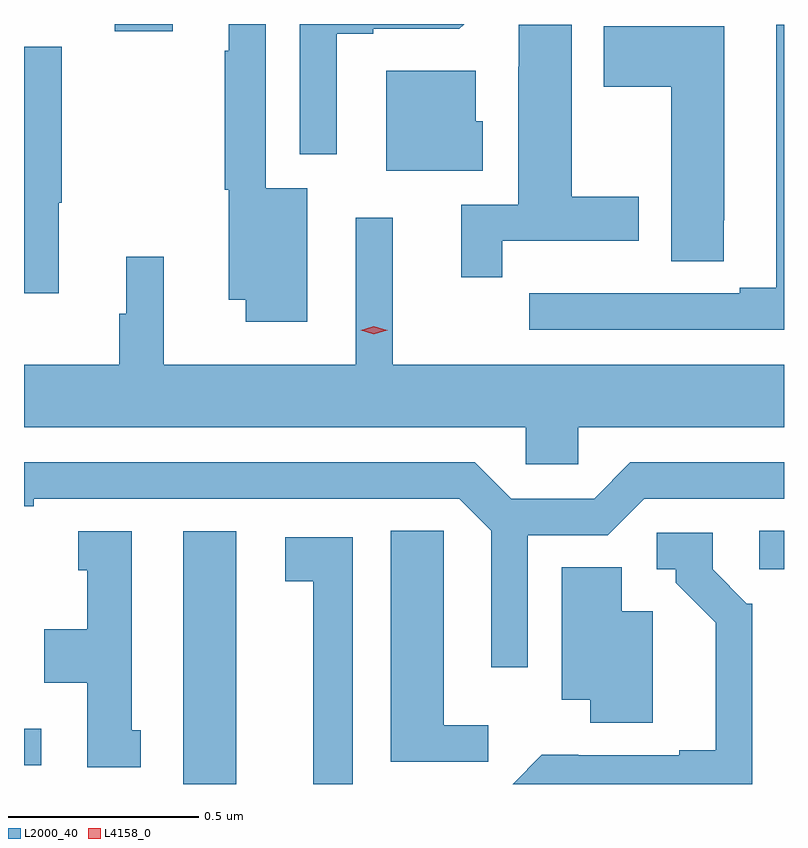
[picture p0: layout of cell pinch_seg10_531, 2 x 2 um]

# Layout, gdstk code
import gdstk
lib = gdstk.Library(unit=1e-6, precision=1e-09)
def R(c, l, rs):  # rectangles x0, y0, x1, y1
    for r in rs: c.add(gdstk.rectangle(r[:2], r[2:], *l))
def P(c, l, *ps):  # polygons
    for p in ps: c.add(gdstk.Polygon(p, *l))
L2000_40 = (2000, 40)
L4158_0 = (4158, 0)

pinch_seg10_531 = lib.new_cell('pinch_seg10_531')
R(pinch_seg10_531, L2000_40, [(170.264,1298.045,170.404,1298.71), (169.845,1298.094,169.891,1298.19), (171.78,1298.61,171.845,1298.711), (170.084,1300.026,170.236,1300.045)])
P(pinch_seg10_531, L2000_40, [(170.668,1300.02),(170.764,1300.02),(170.764,1300.032),(170.991,1300.032),(171.004,1300.045),(170.571,1300.045),(170.571,1299.702),(170.668,1299.702)],
  [(170.59,1299.613),(170.481,1299.613),(170.481,1300.045),(170.384,1300.045),(170.384,1299.974),(170.373,1299.974),(170.373,1299.609),(170.384,1299.609),(170.384,1299.32),(170.429,1299.32),(170.429,1299.261),(170.59,1299.261)],
  [(171.104,1299.474),(171.463,1299.474),(171.463,1299.591),(171.286,1299.591),(171.286,1300.043),(171.147,1300.043),(171.147,1299.932),(171.146,1299.932),(171.146,1299.57),(170.996,1299.57),(170.996,1299.378),(171.104,1299.378)],
  [(171.845,1300.043),(171.824,1300.043),(171.824,1299.351),(171.728,1299.351),(171.728,1299.336),(171.452,1299.336),(171.452,1299.337),(171.286,1299.337),(171.286,1299.336),(171.174,1299.336),(171.174,1299.24),(171.845,1299.24)],
  [(171.687,1299.529),(171.688,1299.529),(171.688,1300.039),(171.371,1300.039),(171.371,1299.88),(171.548,1299.88),(171.548,1299.421),(171.687,1299.421)],
  [(169.936,1299.575),(169.944,1299.575),(169.944,1299.985),(169.845,1299.985),(169.845,1299.336),(169.936,1299.336)],
  [(171.052,1299.789),(171.034,1299.789),(171.034,1299.922),(170.798,1299.922),(170.798,1299.659),(171.052,1299.659)],
  [(171.165,1298.886),(171.303,1298.886),(171.303,1298.984),(171.845,1298.984),(171.845,1299.148),(170.816,1299.148),(170.816,1299.535),(170.718,1299.535),(170.718,1299.148),(170.213,1299.148),(170.213,1299.433),(170.114,1299.433),(170.114,1299.282),(170.095,1299.282),(170.095,1299.148),(169.845,1299.148),(169.845,1298.984),(171.165,1298.984)],
  [(171.171,1298.7),(171.381,1298.7),(171.477,1298.796),(171.845,1298.796),(171.845,1298.892),(171.441,1298.892),(171.345,1298.796),(171.127,1298.796),(171.031,1298.892),(169.845,1298.892),(169.845,1298.776),(169.87,1298.776),(169.87,1298.796),(170.991,1298.796),(171.075,1298.712),(171.075,1298.352),(171.171,1298.352)],
  [(171.067,1298.2),(170.95,1298.2),(170.95,1298.603),(170.949,1298.603),(170.949,1298.711),(170.81,1298.711),(170.81,1298.103),(171.067,1298.103)],
  [(170.152,1298.187),(170.128,1298.187),(170.128,1298.71),(169.988,1298.71),(169.988,1298.607),(170.012,1298.607),(170.012,1298.452),(169.898,1298.452),(169.898,1298.312),(170.012,1298.312),(170.012,1298.089),(170.152,1298.089)],
  [(171.762,1298.52),(171.747,1298.52),(171.657,1298.61),(171.657,1298.706),(171.51,1298.706),(171.51,1298.61),(171.56,1298.61),(171.56,1298.575),(171.665,1298.47),(171.665,1298.134),(171.569,1298.134),(171.569,1298.121),(171.304,1298.121),(171.304,1298.122),(171.208,1298.122),(171.131,1298.045),(171.762,1298.045)],
  [(170.71,1298.694),(170.532,1298.694),(170.532,1298.578),(170.606,1298.578),(170.606,1298.045),(170.71,1298.045)],
  [(171.499,1298.5),(171.418,1298.5),(171.418,1298.615),(171.26,1298.615),(171.26,1298.267),(171.335,1298.267),(171.335,1298.206),(171.499,1298.206)])
P(pinch_seg10_531, L4158_0, [(170.766,1299.229),(170.731,1299.239),(170.731,1299.239),(170.731,1299.239),(170.766,1299.249),(170.801,1299.239),(170.802,1299.239),(170.801,1299.239)])

lib.write_gds('pinch_seg10_531.gds')
